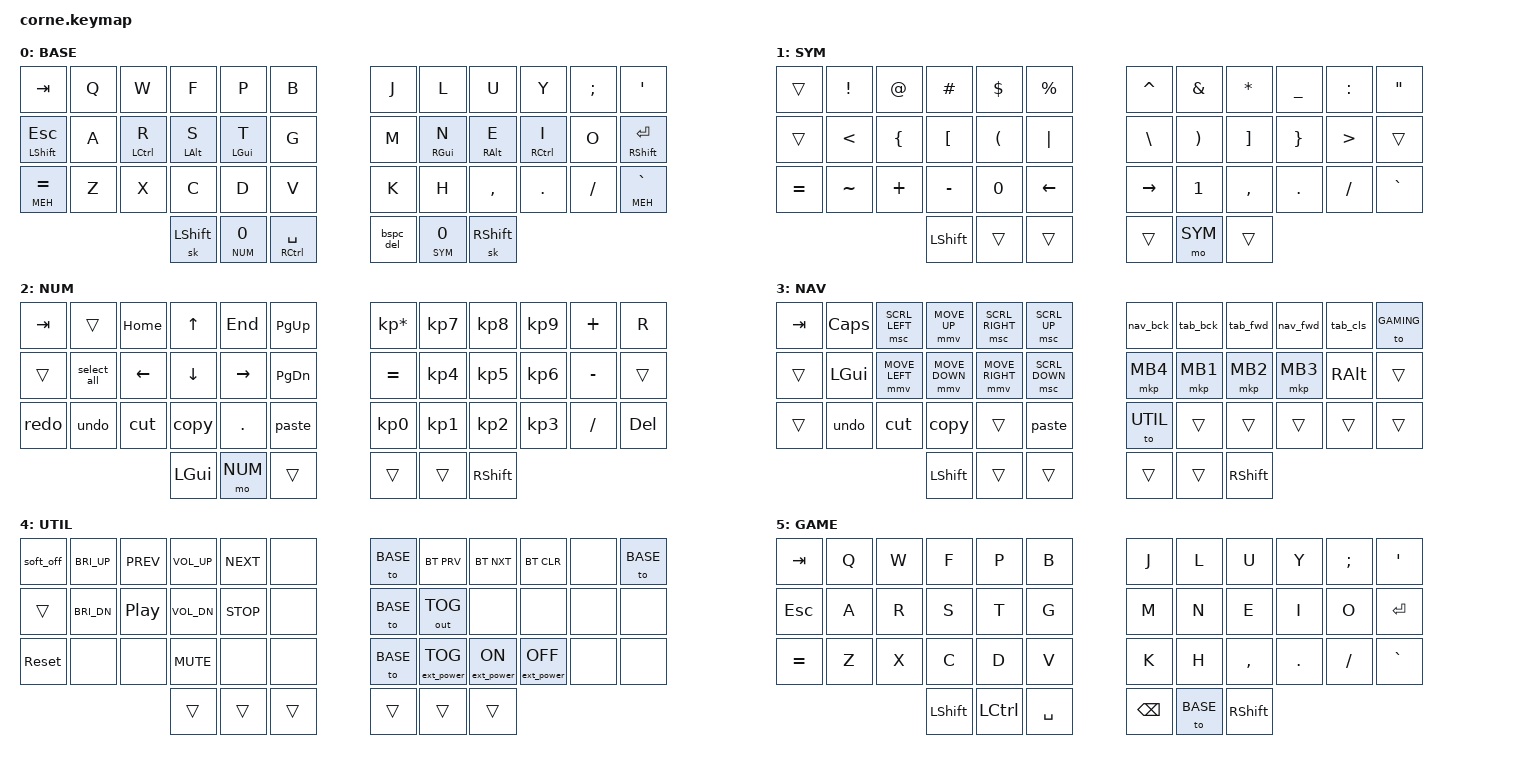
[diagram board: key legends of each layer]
/*
 * Copyright (c) 2020 The ZMK Contributors
 *
 * SPDX-License-Identifier: MIT
 */
#define ZMK_POINTING_DEFAULT_MOVE_VAL 1800  // default: 600
#define ZMK_POINTING_DEFAULT_SCRL_VAL 15    // default: 10

#include <behaviors.dtsi>
#include <dt-bindings/zmk/keys.h>
#include <dt-bindings/zmk/bt.h>
#include <dt-bindings/zmk/outputs.h>
#include <dt-bindings/zmk/mouse.h>
#include <dt-bindings/zmk/ext_power.h>
#include <dt-bindings/zmk/pointing.h>

// Layer aliases
#define BASE   0
#define SYM    1
#define NUM    2
#define NAV    3
#define UTIL   4
#define GAMING 5

// Shorthand aliases for complex mod-tap combinations
#define MEH LC(LS(LALT))
#define MEH_EQ &mt_thumb MEH EQUAL
#define MEH_GR &mt_thumb MEH GRAVE
#define SH_ES &mt_thumb LSHFT ESC
#define SH_RE &mt_thumb RSHFT RET
#define CT_SP &mt_thumb RCTRL SPACE

// Advanced mouse emulation configuration
&mmv {
    time-to-max-speed-ms = <300>;
    acceleration-exponent = <1>;
};

&msc {
    time-to-max-speed-ms = <300>;
    acceleration-exponent = <1>;
};

&soft_off {
    hold-time-ms = <2500>; // Only turn off it the key is held for 5 seconds or longer.
};

/ {
        behaviors {
                // Home row mods with custom tapping term
                hml: homerow_mods_left {
                        compatible = "zmk,behavior-hold-tap";
                        #binding-cells = <2>;
                        flavor = "balanced";
                        tapping-term-ms = <280>;
                        quick-tap-ms = <175>;
                        require-prior-idle-ms = <150>;
                        bindings = <&kp>, <&kp>;
                        hold-trigger-key-positions = <0 1 2 6 7 8 9 10 11 12 13 14 15 18 19 20 21 22 23 30 31 32 33 34 35 36 37 38 39 40 41>;
                        hold-trigger-on-release;
                };

                hmr: homerow_mods_right {
                        compatible = "zmk,behavior-hold-tap";
                        #binding-cells = <2>;
                        flavor = "balanced";
                        tapping-term-ms = <280>;
                        quick-tap-ms = <175>;
                        require-prior-idle-ms = <150>;
                        bindings = <&kp>, <&kp>;
                        hold-trigger-key-positions = <0 1 2 3 4 5 12 13 14 15 16 17 24 25 26 27 28 29 36 37 38 39 40 41>;
                        hold-trigger-on-release;
                };

                // Layer-tap with balanced flavor
                lt_bal: layer_tap_balanced {
                        compatible = "zmk,behavior-hold-tap";
                        #binding-cells = <2>;
                        flavor = "balanced";
                        tapping-term-ms = <200>;
                        quick-tap-ms = <175>;
                        bindings = <&mo>, <&kp>;
                        hold-trigger-on-release;
                };

                // Mod-tap for thumb keys
                mt_thumb: mod_tap_thumb {
                        compatible = "zmk,behavior-hold-tap";
                        #binding-cells = <2>;
                        flavor = "balanced";
                        tapping-term-ms = <200>;
                        quick-tap-ms = <175>;
                        bindings = <&kp>, <&kp>;
                };

                // Mod-morph: Backspace becomes Delete when Ctrl is held
                bspc_del: backspace_delete {
                        compatible = "zmk,behavior-mod-morph";
                        #binding-cells = <0>;
                        bindings = <&kp BSPC>, <&kp DEL>;
                        mods = <(MOD_LCTL|MOD_RCTL)>;
                };
        };


        conditional_layers {
                compatible = "zmk,conditional-layers";
                tri_layer {
                        if-layers = <SYM NUM>;
                        then-layer = <NAV>;
                };
        };

        combos {
                compatible = "zmk,combos";

                // Hardware soft off combo: Press top-left (left side) + top-right (right side)
                combo_soft_off {
                        timeout-ms = <100>;
                        key-positions = <0 11>;  // TAB (left) + ' (right)
                        bindings = <&soft_off>;
                        slow-release;
                };
        };

        macros {
                // Tab navigation macros
                tab_fwd: tab_forward {
                        compatible = "zmk,behavior-macro";
                        #binding-cells = <0>;
                        bindings = <&kp LC(TAB)>;
                };
                tab_bck: tab_backward {
                        compatible = "zmk,behavior-macro";
                        #binding-cells = <0>;
                        bindings = <&kp LC(LS(TAB))>;
                };
                tab_cls: tab_close {
                        compatible = "zmk,behavior-macro";
                        #binding-cells = <0>;
                        bindings = <&kp LG(W)>;
                };
                nav_fwd: nav_forward {
                        compatible = "zmk,behavior-macro";
                        #binding-cells = <0>;
                        bindings = <&kp LG(RBKT)>;
                };
                nav_bck: nav_backward {
                        compatible = "zmk,behavior-macro";
                        #binding-cells = <0>;
                        bindings = <&kp LG(LBKT)>;
                };
                // Clipboard macros
                copy: copy_mac {
                        compatible = "zmk,behavior-macro";
                        #binding-cells = <0>;
                        bindings = <&kp LG(C)>;
                };
                cut: cut_mac {
                        compatible = "zmk,behavior-macro";
                        #binding-cells = <0>;
                        bindings = <&kp LG(X)>;
                };
                paste: paste_mac {
                        compatible = "zmk,behavior-macro";
                        #binding-cells = <0>;
                        bindings = <&kp LG(V)>;
                };
                undo: undo_mac {
                        compatible = "zmk,behavior-macro";
                        #binding-cells = <0>;
                        bindings = <&kp LG(Z)>;
                };
                redo: redo_mac {
                        compatible = "zmk,behavior-macro";
                        #binding-cells = <0>;
                        bindings = <&kp LG(LS(Z))>;
                };
                select_all: select_all_mac {
                        compatible = "zmk,behavior-macro";
                        #binding-cells = <0>;
                        bindings = <&kp LG(A)>;
                };
        };
        
        keymap {
                compatible = "zmk,keymap";

                base_layer {
                        display-name = "BASE";
// -----------------------------------------------------------------------------------------
// | TAB  |  Q  |  W  |  F  |  P  |  B  |   |  J  |  L  |  U  |  Y  |  ;  |  '   |
// | ESC/S|  A  | R/C | S/A | T/G |  G  |   |  M  | N/G | E/A | I/C |  O  | ENT/S|
// | =/M  |  Z  |  X  |  C  |  D  |  V  |   |  K  |  H  |  ,  |  .  |  /  | `/M  |
//                    | OSM | NUM | SPC/C|  | BSPC| SYM | OSM |
                        bindings = <
   &kp TAB  &kp Q  &kp W         &kp F         &kp P         &kp B          &kp J      &kp L         &kp U        &kp Y         &kp SEMI   &kp SQT
   SH_ES    &kp A  &hml LCTRL R  &hml LALT S   &hml LGUI T   &kp G          &kp M      &hmr RGUI N   &hmr RALT E  &hmr RCTRL I  &kp O      SH_RE
   MEH_EQ   &kp Z  &kp X         &kp C         &kp D         &kp V          &kp K      &kp H         &kp COMMA    &kp DOT       &kp FSLH   MEH_GR
                                 &sk LSHFT     &lt_bal NUM 0 CT_SP          &bspc_del  &lt_bal SYM 0 &sk RSHFT
                        >;
                };

                sym_layer {
                        display-name = "SYM";
// -----------------------------------------------------------------------------------------
// |      |  !  |  @  |  #  |  $  |  %  |   |  ^  |  &  |  *  |  _  |  :  |  "   |
// |      |  <  |  {  |  [  |  (  |  |  |   |  \  |  )  |  ]  |  }  |  >  |      |
// |  =   |  ~  |  +  |  -  |  0  | LFT |   | RGT |  1  |  ,  |  .  |  /  |  `   |
//                    | SFT |     |     |   |     | SYM | SFT |
                        bindings = <
   &trans     &kp EXCL   &kp AT     &kp HASH   &kp DLLR   &kp PRCNT          &kp CARET   &kp AMPS   &kp ASTRK   &kp UNDER   &kp COLON   &kp DQT
   &trans     &kp LT     &kp LBRC   &kp LBKT   &kp LPAR   &kp PIPE           &kp BSLH    &kp RPAR   &kp RBKT    &kp RBRC    &kp GT      &trans
   &kp EQUAL  &kp TILDE  &kp PLUS   &kp MINUS  &kp N0     &kp LEFT           &kp RIGHT   &kp N1     &kp COMMA   &kp DOT     &kp FSLH    &kp GRAVE
                                    &kp LSHFT  &trans     &trans             &trans      &mo SYM    &trans
                        >;
                };

                num_layer {
                        display-name = "NUM";
// -----------------------------------------------------------------------------------------
// | TAB  |     |HOME | UP  | END |PGUP |   |  *  |  7  |  8  |  9  |  +  |  R   |
// |      | SEL |LEFT |DOWN |RIGHT|PGDN |   |  =  |  4  |  5  |  6  |  -  |      |
// |  =   |UNDO | CUT |COPY |  .  |PASTE|   |  0  |  1  |  2  |  3  |  /  | DEL  |
//                    | GUI | NUM |     |   |     |     | SFT |
                        bindings = <
   &kp TAB    &trans       &kp HOME   &kp UP     &kp END     &kp PG_UP          &kp KP_MULTIPLY  &kp KP_N7   &kp KP_N8      &kp KP_N9   &kp PLUS    &kp R
   &trans     &select_all  &kp LEFT   &kp DOWN   &kp RIGHT   &kp PG_DN          &kp EQUAL        &kp KP_N4   &kp KP_N5      &kp KP_N6   &kp MINUS   &trans
   &redo      &undo        &cut       &copy      &kp DOT     &paste             &kp KP_N0        &kp KP_N1   &kp KP_N2      &kp KP_N3   &kp FSLH    &kp DEL
                                      &kp LGUI   &mo NUM     &trans             &trans           &trans      &kp RSHFT
                        >;
                };

                nav_layer {
                        display-name = "NAV";
// -----------------------------------------------------------------------------------------
// | TAB  |CAPS |WH_L |MS_U |WH_R |WH_U |   |NAV_B|TAB_B|TAB_F|NAV_F|TAB_C| GAME |
// |      | GUI |MS_L |MS_D |MS_R |WH_D |   |G+BTN| BTN1| BTN2| BTN3| ALT |      |
// |      |UNDO | CUT |COPY |     |PASTE|   | UTIL|     |     |     |     |      |
//                    | SFT |     |     |   |     |     | SFT |
                        bindings = <
   &kp TAB  &kp CAPS  &msc SCRL_LEFT    &mmv MOVE_UP      &msc SCRL_RIGHT   &msc SCRL_UP        &nav_bck    &tab_bck  &tab_fwd   &nav_fwd  &tab_cls  &to GAMING
   &trans   &kp LGUI  &mmv MOVE_LEFT    &mmv MOVE_DOWN    &mmv MOVE_RIGHT   &msc SCRL_DOWN      &mkp MB4    &mkp MB1  &mkp MB2   &mkp MB3  &kp RALT  &trans
   &trans   &undo     &cut              &copy             &trans            &paste              &to UTIL    &trans    &trans     &trans    &trans    &trans
                                        &kp LSHFT         &trans            &trans              &trans      &trans    &kp RSHFT
                        >;
                };

                util_layer {
                        display-name = "UTIL";
// -----------------------------------------------------------------------------------------
// |SOFOFF|BR_UP|PREV |VOL_U|NEXT |     |   |  0  |BT_PR|BT_NX|BT_CL|     |  0  |
// |      |BR_DN|PLAY |VOL_D|STOP |     |   |  0  |OUT_T|     |     |     |     |
// | CLR  |     |     |MUTE |     |     |   |  0  |EP_TG|EP_ON|EP_OF|     |     |
//                    |     |     |     |   |     |     |     |
                        bindings = <
   &soft_off   &kp C_BRI_UP  &kp C_PREV  &kp C_VOL_UP  &kp C_NEXT  &none          &to BASE  &bt BT_PRV         &bt BT_NXT        &bt BT_CLR         &none        &to BASE
   &trans      &kp C_BRI_DN  &kp C_PP    &kp C_VOL_DN  &kp C_STOP  &none          &to BASE  &out OUT_TOG       &none             &none              &none        &none
   &sys_reset  &none         &none       &kp C_MUTE    &none       &none          &to BASE  &ext_power EP_TOG  &ext_power EP_ON  &ext_power EP_OFF  &none        &none
                                         &trans        &trans      &trans         &trans       &trans             &trans
                        >;
                };

                gaming_layer {
                        display-name = "GAME";
// -----------------------------------------------------------------------------------------
// | TAB  |  Q  |  W  |  F  |  P  |  B  |   |  J  |  L  |  U  |  Y  |  ;  |  '   |
// | ESC  |  A  |  R  |  S  |  T  |  G  |   |  M  |  N  |  E  |  I  |  O  | ENT  |
// |  =   |  Z  |  X  |  C  |  D  |  V  |   |  K  |  H  |  ,  |  .  |  /  |  `   |
//                    | SFT | CTL | SPC |   | BSPC| BASE| SFT |
                        bindings = <
   &kp TAB    &kp Q  &kp W  &kp F  &kp P  &kp B             &kp J      &kp L  &kp U      &kp Y    &kp SEMI   &kp SQT
   &kp ESC    &kp A  &kp R  &kp S  &kp T  &kp G             &kp M      &kp N  &kp E      &kp I    &kp O      &kp RET
   &kp EQUAL  &kp Z  &kp X  &kp C  &kp D  &kp V             &kp K      &kp H  &kp COMMA  &kp DOT  &kp FSLH   &kp GRAVE
                            &kp LSHFT &kp LCTRL &kp SPACE   &kp BSPC   &to BASE  &kp RSHFT
                        >;
                };
        };
};

